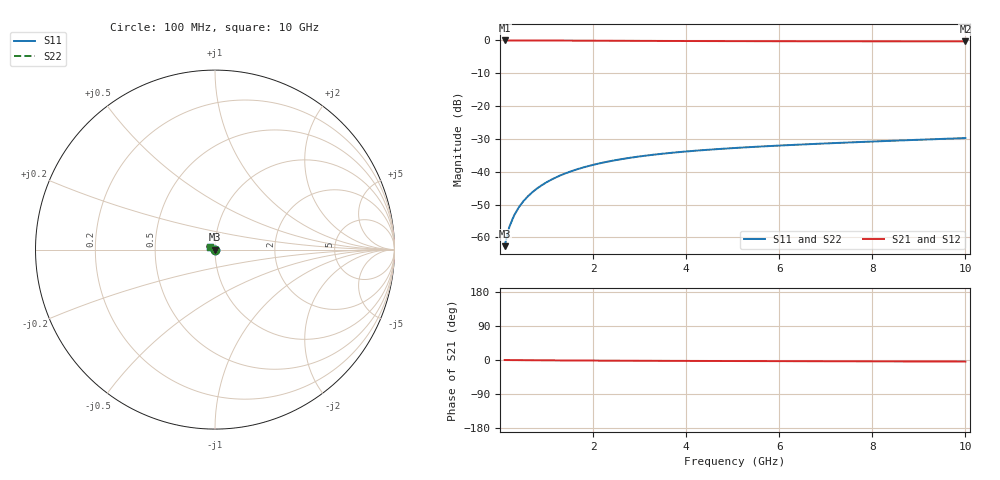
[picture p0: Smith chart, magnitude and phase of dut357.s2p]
! Touchstone file exported from HFSS 2024.1.0
!  File:  C:/UserFiles/LocalFiles/RDL_TSV_Batchsim/temp_TSV1_357_1779620686.aedt
!  Generated:  07:10:43 PM May 24, 2026
!  Design:  TSV1
!  Project:  temp_TSV1_357_1779620686
!  Setup:  Setup1
!  Solution:  Sweep
! Variables:
!  dtsv = 8.03um
!  hbump = 3um
!  htsv = 60.16um
!  lrdl = 252.1521522um
!  p = 40
!  p1 = 52.44um
!  t = 500um
!  trdl = 3um
!  wrdl = 24.89489489um
# GHz S MA R 50.000000
! Terminal data exported
! Port[1] = TSV22_T1
! Port[2] = TSV22_T2
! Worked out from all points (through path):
!   100 points, 100 MHz to 10 GHz, reference 50 ohm
!   highest |S21| = 0.00 dB at 100 MHz (marker M1); lowest = -0.3 dB at 10 GHz (marker M2)
!   lowest |S11| = -62.7 dB at 100 MHz (marker M3), VSWR 1.00, Z = 50 - j0.0717 ohm
!   |S11| at or under -10 dB: start of sweep to end of sweep
!   |S22| runs from -62.7 to -29.7 dB; largest |S21 - S12| = 2.2e-15
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0.1  0.0007355 -77.2  0.9998 -0.1  0.9998 -0.1  0.0007355 -77.2
! Gamma 0 0 0 0
! Port Impedance 50 0 50 0
0.2  0.001432 -86.7  0.9997 -0.2  0.9997 -0.2  0.001432 -86.7
0.3  0.002135 -91.4  0.9995 -0.3  0.9995 -0.3  0.002135 -91.4
0.4  0.002837 -94.8  0.9993 -0.4  0.9993 -0.4  0.002837 -94.8
0.5  0.003534 -97.6  0.9991 -0.5  0.9991 -0.5  0.003534 -97.6
0.6  0.004226 -100.2  0.9988 -0.5  0.9988 -0.5  0.004226 -100.2
0.7  0.004911 -102.7  0.9985 -0.6  0.9985 -0.6  0.004911 -102.7
0.8  0.005587 -105.0  0.9981 -0.7  0.9981 -0.7  0.005587 -105.0
0.9  0.006254 -107.3  0.9976 -0.8  0.9976 -0.8  0.006254 -107.3
1.1  0.007555 -111.5  0.9967 -1.0  0.9967 -1.0  0.007555 -111.5
1.4  0.00941 -117.6  0.9951 -1.2  0.9951 -1.2  0.00941 -117.6
1.6  0.01058 -121.4  0.9939 -1.3  0.9939 -1.3  0.01058 -121.4
1.8  0.01168 -125.1  0.9927 -1.4  0.9927 -1.4  0.01168 -125.1
2.1  0.01323 -130.4  0.9908 -1.6  0.9908 -1.6  0.01323 -130.4
2.5  0.01509 -137.0  0.9883 -1.8  0.9883 -1.8  0.01509 -137.0
2.9  0.01673 -143.0  0.986 -2.0  0.986 -2.0  0.01673 -143.0
3.4  0.01852 -150.0  0.9832 -2.2  0.9832 -2.2  0.01852 -150.0
4.2  0.02091 -159.7  0.9795 -2.5  0.9795 -2.5  0.02091 -159.7
5.1  0.02313 -169.2  0.9762 -2.8  0.9762 -2.8  0.02313 -169.2
6.7  0.02643 177.2  0.972 -3.2  0.972 -3.2  0.02643 177.2
8.4  0.0296 165.7  0.9691 -3.7  0.9691 -3.7  0.0296 165.7
10  0.03259 156.9  0.9672 -4.1  0.9672 -4.1  0.03259 156.9
